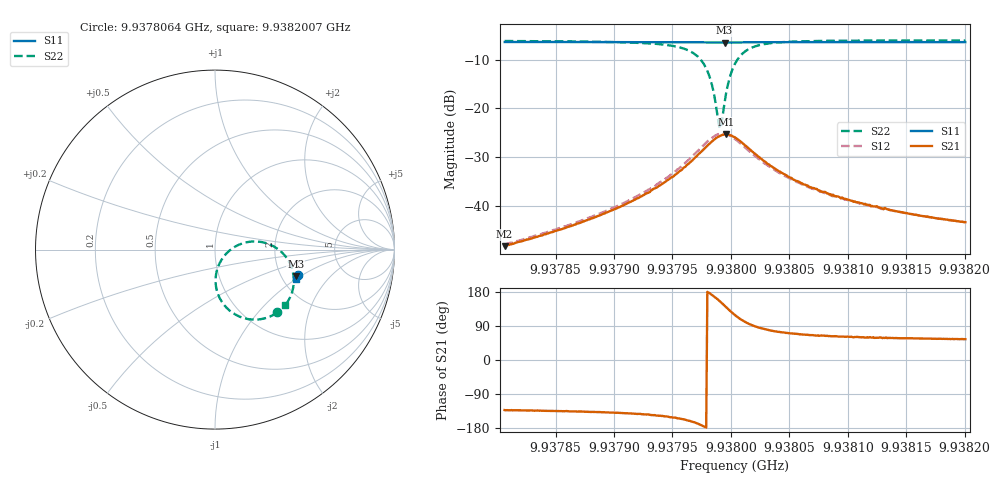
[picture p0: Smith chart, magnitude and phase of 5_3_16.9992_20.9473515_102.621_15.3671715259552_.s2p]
#  HZ  S  RI  R  50.00
! Rohde & Schwarz Vector Network Analyzer
! Rohde-Schwarz,ZNB20-2Port,1311601062101988,3.16
! Created: UTC 3/20/2024, 10:52:15 PM
! freq[Hz]  re:S11  im:S11  re:S21  im:S21  re:S12  im:S12  re:S22  im:S22
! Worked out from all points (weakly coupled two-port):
!   401 points, 9.9378064 GHz to 9.9382007 GHz, reference 50 ohm
!   highest |S21| = -25.33 dB at 9.9379957 GHz (marker M1); lowest = -48.3 dB at 9.9378064 GHz (marker M2)
!   lowest |S11| = -6.5 dB at 9.9379947 GHz (marker M3), VSWR 2.80, Z = 120 - j45.6 ohm
!   |S11| at or under -10 dB: nowhere
!   |S22| runs from -24.1 to -6.0 dB; largest |S21 - S12| = 0.0097
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9.93780638e9  0.4607 -0.1388  -0.00259 -0.00287  -0.00274 -0.0029  0.3464 -0.3504
9.93787243e9  0.4588 -0.1434  -0.00492 -0.00473  -0.00523 -0.00483  0.3218 -0.3653
9.93790989e9  0.4575 -0.1461  -0.00803 -0.00662  -0.00863 -0.00678  0.2913 -0.3787
9.93793848e9  0.4562 -0.1485  -0.0135 -0.00873  -0.0147 -0.00904  0.2404 -0.3894
9.93796214e9  0.4544 -0.1503  -0.0244 -0.00953  -0.0271 -0.00882  0.142 -0.3753
9.93797495e9  0.4525 -0.1509  -0.036 -0.00491  -0.0402 -0.00187  0.048 -0.3048
9.9379789e9  0.4518 -0.1509  -0.0404 -0.00124  -0.0445 0.00361  0.0203 -0.2573
9.93798284e9  0.4511 -0.1503  -0.0445 0.00469  -0.0477 0.0114  0.0041 -0.1927
9.9379858e9  0.4506 -0.1499  -0.0468 0.0107  -0.0486 0.0185  0.00624 -0.1363
9.93798875e9  0.4503 -0.1494  -0.0479 0.0174  -0.0474 0.0265  0.0253 -0.0767
9.93799073e9  0.4502 -0.1489  -0.0474 0.0224  -0.0451 0.0315  0.0479 -0.0398
9.9379927e9  0.4502 -0.1483  -0.0459 0.0276  -0.042 0.0362  0.0784 -0.0076
9.93799467e9  0.4503 -0.1479  -0.0432 0.0324  -0.0378 0.0401  0.1148 0.018
9.93799565e9  0.4505 -0.1476  -0.0416 0.0346  -0.0356 0.0417  0.1344 0.0276
9.9379996e9  0.4511 -0.1468  -0.0334 0.0414  -0.0258 0.0455  0.2144 0.0455
9.93800354e9  0.452 -0.1465  -0.024 0.0445  -0.0168 0.0456  0.2856 0.0359
9.93801143e9  0.4537 -0.1472  -0.00888 0.0418  -0.004 0.0404  0.3784 -0.0214
9.93802227e9  0.455 -0.1485  0.00156 0.0331  0.00373 0.0312  0.4276 -0.1025
9.93804199e9  0.4552 -0.1509  0.00624 0.0216  0.00688 0.0205  0.4385 -0.1904
9.93806959e9  0.4547 -0.1536  0.00627 0.0139  0.00658 0.0135  0.4267 -0.2455
9.93813564e9  0.453 -0.1586  0.00483 0.00777  0.005 0.00766  0.4033 -0.2928
9.9382007e9  0.4512 -0.163  0.00391 0.00558  0.00401 0.0055  0.39 -0.3111
